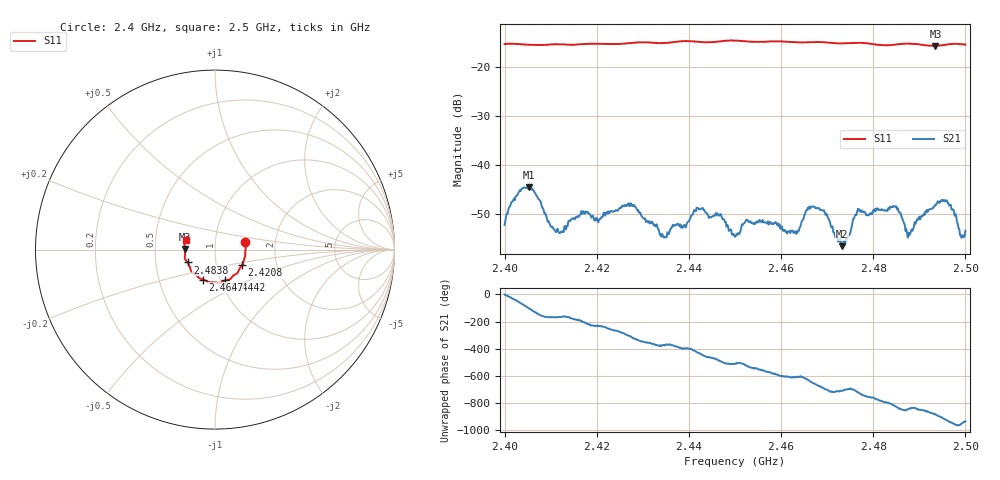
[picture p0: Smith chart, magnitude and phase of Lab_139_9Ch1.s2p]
# Hz S RI R 50
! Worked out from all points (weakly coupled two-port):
!   601 points, 2.4 GHz to 2.5 GHz, reference 50 ohm
!   highest |S21| = -44.55 dB at 2.4053 GHz (marker M1); lowest = -56.6 dB at 2.4732 GHz (marker M2)
!   lowest |S11| = -15.6 dB at 2.4935 GHz (marker M3), VSWR 1.40, Z = 35.8 + j0.198 ohm
!   |S11| at or under -10 dB: start of sweep to end of sweep
!   S12 and S22 are empty: the file has one direction only
!   S11 on the Smith chart (normalised r, x): 2.4 GHz: 1.40, +0.12; 2.4208 GHz: 1.33, -0.24; 2.4442 GHz: 1.05, -0.37; 2.4647 GHz: 0.83, -0.29; 2.4838 GHz: 0.73, -0.11; 2.5 GHz: 0.72, +0.08
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2.4e9  0.1682 0.0408  0.00244 -7.98e-05  0 0  0 0
2.402833e9  0.1714 0.0259  0.00314 -0.00388  0 0  0 0
2.405333e9  0.17 0.00609  -0.00131 -0.00578  0 0  0 0
2.4115e9  0.1683 -0.0362  -0.00218 -0.000505  0 0  0 0
2.416667e9  0.1586 -0.0682  -0.00323 0.000985  0 0  0 0
2.420833e9  0.1509 -0.0873  -0.00174 0.00221  0 0  0 0
2.427333e9  0.1296 -0.1211  0.0026 0.00313  0 0  0 0
2.433333e9  0.1079 -0.1401  0.0021 -0.000634  0 0  0 0
2.444167e9  0.0567 -0.1712  -0.000741 -0.00296  0 0  0 0
2.45e9  0.0244 -0.1865  -0.00159 -0.000924  0 0  0 0
2.452667e9  0.0112 -0.1836  -0.00269 -0.000553  0 0  0 0
2.463167e9  -0.0555 -0.1714  -0.00076 0.00193  0 0  0 0
2.464667e9  -0.0673 -0.1668  -0.000947 0.00256  0 0  0 0
2.466667e9  -0.0803 -0.1625  0.00113 0.00358  0 0  0 0
2.473167e9  -0.1092 -0.1381  0.00145 0.000288  0 0  0 0
2.476667e9  -0.1308 -0.1211  0.00356 3.11e-05  0 0  0 0
2.483333e9  -0.1504 -0.0761  0.000864 -0.00355  0 0  0 0
2.483833e9  -0.153 -0.0718  0.000392 -0.00374  0 0  0 0
2.487833e9  -0.1678 -0.0485  -0.001 -0.00163  0 0  0 0
2.4935e9  -0.1655 0.00268  -0.00378 -0.00105  0 0  0 0
2.496333e9  -0.1702 0.0282  -0.00341 0.00221  0 0  0 0
2.5e9  -0.1625 0.0528  -0.00178 0.00117  0 0  0 0
